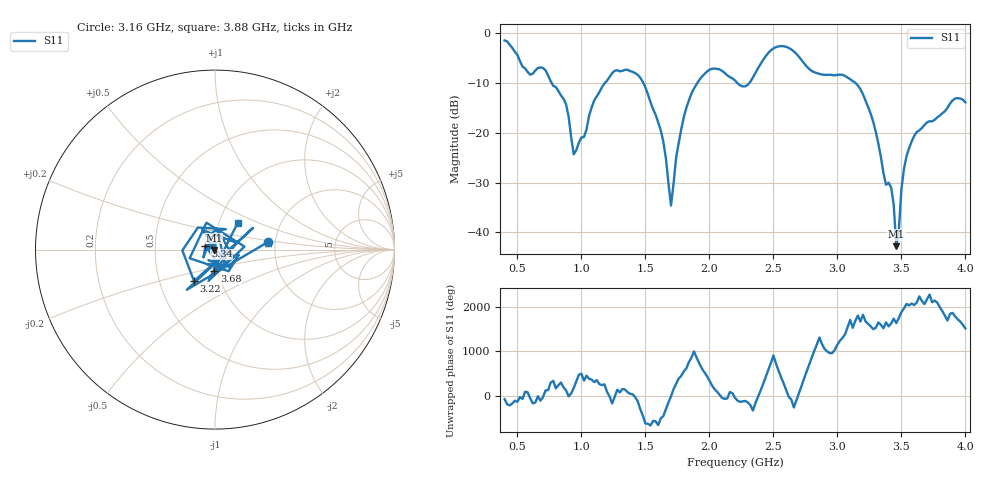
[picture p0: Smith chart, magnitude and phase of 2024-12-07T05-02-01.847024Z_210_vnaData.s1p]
!Created with skrf (http://scikit-rf.org).
# Hz S RI R 50.0
!freq ReS11 ImS11
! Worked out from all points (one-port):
!   181 points, 400 MHz to 4 GHz, reference 50 ohm
!   lowest |S11| = -42.8 dB at 3.46 GHz (marker M1), VSWR 1.01, Z = 49.3 - j0.246 ohm
!   |S11| at or under -10 dB: 767.9 MHz to 1.183 GHz (415.3 MHz wide, 42.6 % of centre); 1.484 GHz to 1.906 GHz (421.8 MHz wide, 24.9 % of centre); 3.142 GHz to end of sweep (the widest 3 of 4)
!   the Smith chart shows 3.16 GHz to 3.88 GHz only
!   S11 on the Smith chart (normalised r, x): 3.16 GHz: 1.83, +0.17; 3.22 GHz: 0.75, -0.28; 3.34 GHz: 0.90, +0.04; 3.68 GHz: 0.96, -0.23; 3.88 GHz: 1.23, +0.38
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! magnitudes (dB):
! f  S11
! 400 MHz  -1.4
! 860 MHz  -13.1
! 940 MHz  -24.3
! 1.1 GHz  -13.5
! 1.3 GHz  -7.7
! 1.5 GHz  -10.9
! 1.64 GHz  -21.8
! 1.7 GHz  -34.6
! 1.76 GHz  -22.0
! 1.84 GHz  -13.5
! 1.94 GHz  -8.8
! 2.2 GHz  -9.5
! 2.3 GHz  -10.4
! 2.52 GHz  -2.8
! 2.66 GHz  -3.7
! 3.1 GHz  -9.2
! 3.16 GHz  -10.5
! 3.22 GHz  -13.5
! 3.34 GHz  -24.9
! 3.38 GHz  -30.4
! 3.42 GHz  -31.0
! 3.44 GHz  -34.5
! 3.46 GHz  -42.8
! 3.52 GHz  -27.3
! 3.56 GHz  -23.1
! 3.68 GHz  -18.4
! 3.88 GHz  -14.1
! 4 GHz  -13.9
